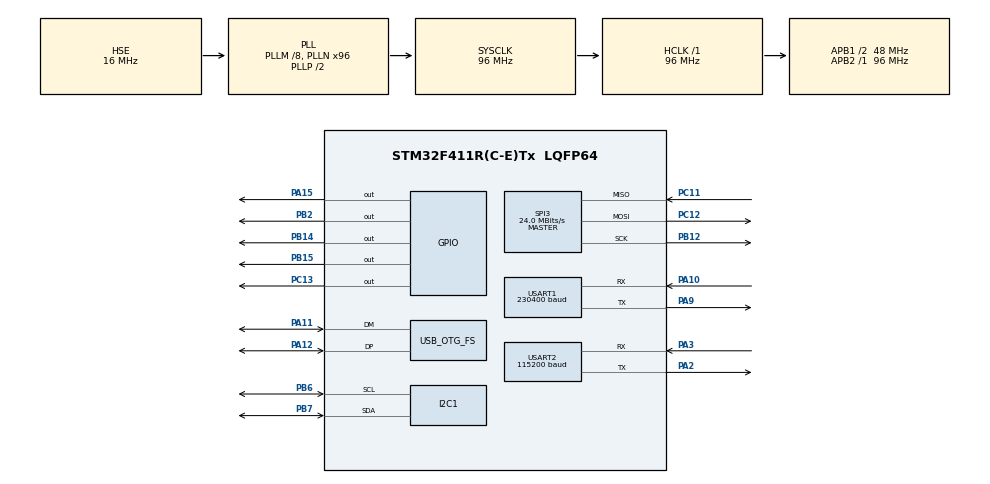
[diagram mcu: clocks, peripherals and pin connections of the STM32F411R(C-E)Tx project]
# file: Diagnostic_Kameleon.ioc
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Dma.Request0=USART2_RX
Dma.USART2_RX.0.Direction=DMA_PERIPH_TO_MEMORY
Dma.USART2_RX.0.FIFOMode=DMA_FIFOMODE_DISABLE
Dma.USART2_RX.0.Instance=DMA1_Stream5
Dma.USART2_RX.0.MemDataAlignment=DMA_MDATAALIGN_BYTE
Dma.USART2_RX.0.MemInc=DMA_MINC_ENABLE
Dma.USART2_RX.0.Mode=DMA_CIRCULAR
Dma.USART2_RX.0.PeriphDataAlignment=DMA_PDATAALIGN_BYTE
Dma.USART2_RX.0.PeriphInc=DMA_PINC_DISABLE
Dma.USART2_RX.0.Priority=DMA_PRIORITY_LOW
Mcu.Family=STM32F4
Mcu.Name=STM32F411R(C-E)Tx
Mcu.Package=LQFP64
NVIC.DMA1_Stream5_IRQn=true\:0\:0\:false\:false\:true
NVIC.OTG_FS_IRQn=true\:0\:0\:false\:false\:true
NVIC.PriorityGroup=NVIC_PRIORITYGROUP_4
NVIC.USART2_IRQn=true\:0\:0\:false\:false\:true
PA10.Mode=Asynchronous
PA10.Signal=USART1_RX
PA11.Mode=Device_Only
PA11.Signal=USB_OTG_FS_DM
PA12.Mode=Device_Only
PA12.Signal=USB_OTG_FS_DP
PA13.Mode=Serial_Wire
PA13.Signal=SYS_JTMS-SWDIO
PA14.Mode=Serial_Wire
PA14.Signal=SYS_JTCK-SWCLK
PA15.Signal=GPIO_Output
PA2.Mode=Asynchronous
PA2.Signal=USART2_TX
PA3.Mode=Asynchronous
PA3.Signal=USART2_RX
PA9.Mode=Asynchronous
PA9.Signal=USART1_TX
PB12.Mode=Full_Duplex_Master
PB12.Signal=SPI3_SCK
PB14.PinState=GPIO_PIN_SET
PB14.Signal=GPIO_Output
PB15.PinState=GPIO_PIN_SET
PB15.Signal=GPIO_Output
PB2.Signal=GPIO_Output
PB6.GPIO_PuPdOD=GPIO_PULLUP
PB6.Mode=I2C
PB6.Signal=I2C1_SCL
PB7.GPIO_PuPdOD=GPIO_PULLUP
PB7.Mode=I2C
PB7.Signal=I2C1_SDA
PC11.Mode=Full_Duplex_Master
PC11.Signal=SPI3_MISO
PC12.Mode=Full_Duplex_Master
PC12.Signal=SPI3_MOSI
PC13-ANTI_TAMP.Signal=GPIO_Output
PH0\ -\ OSC_IN.Mode=HSE-External-Oscillator
PH0\ -\ OSC_IN.Signal=RCC_OSC_IN
PH1\ -\ OSC_OUT.Mode=HSE-External-Oscillator
PH1\ -\ OSC_OUT.Signal=RCC_OSC_OUT
ProjectManager.HeapSize=0x2000
ProjectManager.StackSize=0x2000
ProjectManager.TargetToolchain=Makefile
RCC.48MHZClocksFreq_Value=48000000
RCC.AHBFreq_Value=96000000
RCC.APB1CLKDivider=RCC_HCLK_DIV2
RCC.APB1Freq_Value=48000000
RCC.APB1TimFreq_Value=96000000
RCC.APB2Freq_Value=96000000
RCC.APB2TimFreq_Value=96000000
RCC.CortexFreq_Value=96000000
RCC.HCLKFreq_Value=96000000
RCC.HSE_VALUE=16000000
RCC.HSI_VALUE=16000000
RCC.LSE_VALUE=32768
RCC.PLLM=8
RCC.PLLN=96
RCC.SYSCLKFreq_VALUE=96000000
RCC.SYSCLKSource=RCC_SYSCLKSOURCE_PLLCLK
RCC.VCOOutputFreq_Value=192000000
SPI3.CLKPolarity=SPI_POLARITY_LOW
SPI3.CalculateBaudRate=24.0 MBits/s
SPI3.Direction=SPI_DIRECTION_2LINES
SPI3.Mode=SPI_MODE_MASTER
SPI3.VirtualType=VM_MASTER
USART1.BaudRate=230400
USART1.VirtualMode=VM_ASYNC
USART2.BaudRate=115200
USART2.VirtualMode=VM_ASYNC
USB_DEVICE.CLASS_NAME_FS=CDC
USB_DEVICE.USBD_SELF_POWERED=0
USB_DEVICE.VirtualMode=Cdc
USB_DEVICE.VirtualModeFS=Cdc_FS
USB_OTG_FS.VirtualMode=Device_Only
USB_OTG_FS.vbus_sensing_enable=DISABLE
VP_USB_DEVICE_VS_USB_DEVICE_CDC_FS.Mode=CDC_FS
board=Diagnostic_Kameleon

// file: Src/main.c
/**
  ******************************************************************************
  * File Name          : main.c
  * Description        : Main program body
  ******************************************************************************
  * This notice applies to any and all portions of this file
  * that are not between comment pairs USER CODE BEGIN and
  * USER CODE END. Other portions of this file, whether
  * inserted by the user or by software development tools
  * are owned by their respective copyright owners.
  *
  * Copyright (c) 2017 STMicroelectronics International N.V.
  * All rights reserved.
  *
  * Redistribution and use in source and binary forms, with or without
  * modification, are permitted, provided that the following conditions are met:
  *
  * 1. Redistribution of source code must retain the above copyright notice,
  *    this list of conditions and the following disclaimer.
  * 2. Redistributions in binary form must reproduce the above copyright notice,
  *    this list of conditions and the following disclaimer in the documentation
  *    and/or other materials provided with the distribution.
  * 3. Neither the name of STMicroelectronics nor the names of other
  *    contributors to this software may be used to endorse or promote products
  *    derived from this software without specific written permission.
  * 4. This software, including modifications and/or derivative works of this
  *    software, must execute solely and exclusively on microcontroller or
  *    microprocessor devices manufactured by or for STMicroelectronics.
  * 5. Redistribution and use of this software other than as permitted under
  *    this license is void and will automatically terminate your rights under
  *    this license.
  *
  * THIS SOFTWARE IS PROVIDED BY STMICROELECTRONICS AND CONTRIBUTORS "AS IS"
  * AND ANY EXPRESS, IMPLIED OR STATUTORY WARRANTIES, INCLUDING, BUT NOT
  * LIMITED TO, THE IMPLIED WARRANTIES OF MERCHANTABILITY, FITNESS FOR A
  * PARTICULAR PURPOSE AND NON-INFRINGEMENT OF THIRD PARTY INTELLECTUAL PROPERTY
  * RIGHTS ARE DISCLAIMED TO THE FULLEST EXTENT PERMITTED BY LAW. IN NO EVENT
  * SHALL STMICROELECTRONICS OR CONTRIBUTORS BE LIABLE FOR ANY DIRECT, INDIRECT,
  * INCIDENTAL, SPECIAL, EXEMPLARY, OR CONSEQUENTIAL DAMAGES (INCLUDING, BUT NOT
  * LIMITED TO, PROCUREMENT OF SUBSTITUTE GOODS OR SERVICES; LOSS OF USE, DATA,
  * OR PROFITS; OR BUSINESS INTERRUPTION) HOWEVER CAUSED AND ON ANY THEORY OF
  * LIABILITY, WHETHER IN CONTRACT, STRICT LIABILITY, OR TORT (INCLUDING
  * NEGLIGENCE OR OTHERWISE) ARISING IN ANY WAY OUT OF THE USE OF THIS SOFTWARE,
  * EVEN IF ADVISED OF THE POSSIBILITY OF SUCH DAMAGE.
  *
  ******************************************************************************
  */
#include "main.h"
#include "stm32f4xx_hal.h"
#include "usb_device.h"

/* USER CODE BEGIN Includes */
#include "usbd_cdc_if.h"
#include "is25lq040b.h"
#include "mpu6050.h"
#include "vcp.h"
#include "uart.h"
#include "esp8266_12e.h"
#include "diagnostic.h"

/* USER CODE END Includes */

I2C_HandleTypeDef hi2c1;
SPI_HandleTypeDef hspi3;
UART_HandleTypeDef huart1;
UART_HandleTypeDef huart2;
DMA_HandleTypeDef hdma_usart2_rx;

/* USER CODE BEGIN PV */
/* Private variables ---------------------------------------------------------*/

unsigned int gTestFunc;

/* USER CODE END PV */

void SystemClock_Config(void);
static void MX_GPIO_Init(void);
static void MX_DMA_Init(void);
static void MX_SPI3_Init(void);
static void MX_USART1_UART_Init(void);
static void MX_USART2_UART_Init(void);
static void MX_I2C1_Init(void);

/* USER CODE BEGIN PFP */
/* Private function prototypes -----------------------------------------------*/

/* USER CODE END PFP */

/* USER CODE BEGIN 0 */

void HAL_SYSTICK_Callback()
{
    static unsigned int n = 0;

    if( (n++%1000) == 0 )
    {
        HAL_GPIO_TogglePin(GPIOB, GPIO_PIN_2);
    }

}

/* USER CODE END 0 */

int main(void)
{

  /* MCU Configuration----------------------------------------------------------*/

  /* Reset of all peripherals, Initializes the Flash interface and the Systick. */
  HAL_Init();

  /* Configure the system clock */
  SystemClock_Config();

  /* USER CODE BEGIN SysInit */
   HAL_Delay(1000);
  /* USER CODE END SysInit */

  /* Initialize all configured peripherals */
  MX_GPIO_Init();
  MX_DMA_Init();
  MX_USB_DEVICE_Init();
  MX_SPI3_Init();
  MX_USART1_UART_Init();
  MX_USART2_UART_Init();
  MX_I2C1_Init();

  /* USER CODE BEGIN 2 */
  VcpDebugInit(&huart1);
  Is25Lq_Init(&hspi3);
  Mpu6050_Init(&hi2c1);
  UartDebugInit(&huart1);
  Esp8266Init(&huart2, &hdma_usart2_rx);

//  Mpu6050_Test();
//  Esp8266_Test();

  while(VcpIsCharReceived() == 0)
  {
       VcpPrintf("Press any key to continue \r\n");
       HAL_Delay(1000);
  }

  Diagnostic();

  /* USER CODE END 2 */

  /* Infinite loop */
  while (1)
  {

  }

}

/** System Clock Configuration
*/
void SystemClock_Config(void)
{

  RCC_OscInitTypeDef RCC_OscInitStruct;
  RCC_ClkInitTypeDef RCC_ClkInitStruct;

    /**Configure the main internal regulator output voltage
    */
  __HAL_RCC_PWR_CLK_ENABLE();

  __HAL_PWR_VOLTAGESCALING_CONFIG(PWR_REGULATOR_VOLTAGE_SCALE1);

    /**Initializes the CPU, AHB and APB busses clocks
    */
  RCC_OscInitStruct.OscillatorType = RCC_OSCILLATORTYPE_HSE;
  RCC_OscInitStruct.HSEState = RCC_HSE_ON;
  RCC_OscInitStruct.PLL.PLLState = RCC_PLL_ON;
  RCC_OscInitStruct.PLL.PLLSource = RCC_PLLSOURCE_HSE;
  RCC_OscInitStruct.PLL.PLLM = 8;
  RCC_OscInitStruct.PLL.PLLN = 96;
  RCC_OscInitStruct.PLL.PLLP = RCC_PLLP_DIV2;
  RCC_OscInitStruct.PLL.PLLQ = 4;
  if (HAL_RCC_OscConfig(&RCC_OscInitStruct) != HAL_OK)
  {
    _Error_Handler(__FILE__, __LINE__);
  }

    /**Initializes the CPU, AHB and APB busses clocks
    */
  RCC_ClkInitStruct.ClockType = RCC_CLOCKTYPE_HCLK|RCC_CLOCKTYPE_SYSCLK
                              |RCC_CLOCKTYPE_PCLK1|RCC_CLOCKTYPE_PCLK2;
  RCC_ClkInitStruct.SYSCLKSource = RCC_SYSCLKSOURCE_PLLCLK;
  RCC_ClkInitStruct.AHBCLKDivider = RCC_SYSCLK_DIV1;
  RCC_ClkInitStruct.APB1CLKDivider = RCC_HCLK_DIV2;
  RCC_ClkInitStruct.APB2CLKDivider = RCC_HCLK_DIV1;

  if (HAL_RCC_ClockConfig(&RCC_ClkInitStruct, FLASH_LATENCY_3) != HAL_OK)
  {
    _Error_Handler(__FILE__, __LINE__);
  }

    /**Configure the Systick interrupt time
    */
  HAL_SYSTICK_Config(HAL_RCC_GetHCLKFreq()/1000);

    /**Configure the Systick
    */
  HAL_SYSTICK_CLKSourceConfig(SYSTICK_CLKSOURCE_HCLK);

  /* SysTick_IRQn interrupt configuration */
  HAL_NVIC_SetPriority(SysTick_IRQn, 0, 0);
}

/* I2C1 init function */
static void MX_I2C1_Init(void)
{

  hi2c1.Instance = I2C1;
  hi2c1.Init.ClockSpeed = 100000;
  hi2c1.Init.DutyCycle = I2C_DUTYCYCLE_2;
  hi2c1.Init.OwnAddress1 = 0;
  hi2c1.Init.AddressingMode = I2C_ADDRESSINGMODE_7BIT;
  hi2c1.Init.DualAddressMode = I2C_DUALADDRESS_DISABLE;
  hi2c1.Init.OwnAddress2 = 0;
  hi2c1.Init.GeneralCallMode = I2C_GENERALCALL_DISABLE;
  hi2c1.Init.NoStretchMode = I2C_NOSTRETCH_DISABLE;
  if (HAL_I2C_Init(&hi2c1) != HAL_OK)
  {
    _Error_Handler(__FILE__, __LINE__);
  }

}

/* SPI3 init function */
static void MX_SPI3_Init(void)
{

  hspi3.Instance = SPI3;
  hspi3.Init.Mode = SPI_MODE_MASTER;
  hspi3.Init.Direction = SPI_DIRECTION_2LINES;
  hspi3.Init.DataSize = SPI_DATASIZE_8BIT;
  hspi3.Init.CLKPolarity = SPI_POLARITY_LOW;
  hspi3.Init.CLKPhase = SPI_PHASE_1EDGE;
  hspi3.Init.NSS = SPI_NSS_SOFT;
  hspi3.Init.BaudRatePrescaler = SPI_BAUDRATEPRESCALER_2;
  hspi3.Init.FirstBit = SPI_FIRSTBIT_MSB;
  hspi3.Init.TIMode = SPI_TIMODE_DISABLE;
  hspi3.Init.CRCCalculation = SPI_CRCCALCULATION_DISABLE;
  hspi3.Init.CRCPolynomial = 10;
  if (HAL_SPI_Init(&hspi3) != HAL_OK)
  {
    _Error_Handler(__FILE__, __LINE__);
  }

}

/* USART1 init function */
static void MX_USART1_UART_Init(void)
{

  huart1.Instance = USART1;
  huart1.Init.BaudRate = 230400;
  huart1.Init.WordLength = UART_WORDLENGTH_8B;
  huart1.Init.StopBits = UART_STOPBITS_1;
  huart1.Init.Parity = UART_PARITY_NONE;
  huart1.Init.Mode = UART_MODE_TX_RX;
  huart1.Init.HwFlowCtl = UART_HWCONTROL_NONE;
  huart1.Init.OverSampling = UART_OVERSAMPLING_16;
  if (HAL_UART_Init(&huart1) != HAL_OK)
  {
    _Error_Handler(__FILE__, __LINE__);
  }

}

/* USART2 init function */
static void MX_USART2_UART_Init(void)
{

  huart2.Instance = USART2;
  huart2.Init.BaudRate = 115200;
  huart2.Init.WordLength = UART_WORDLENGTH_8B;
  huart2.Init.StopBits = UART_STOPBITS_1;
  huart2.Init.Parity = UART_PARITY_NONE;
  huart2.Init.Mode = UART_MODE_TX_RX;
  huart2.Init.HwFlowCtl = UART_HWCONTROL_NONE;
  huart2.Init.OverSampling = UART_OVERSAMPLING_16;
  if (HAL_UART_Init(&huart2) != HAL_OK)
  {
    _Error_Handler(__FILE__, __LINE__);
  }

}

static void MX_DMA_Init(void)
{
  /* DMA controller clock enable */
  __HAL_RCC_DMA1_CLK_ENABLE();

  /* DMA interrupt init */
  /* DMA1_Stream5_IRQn interrupt configuration */
  HAL_NVIC_SetPriority(DMA1_Stream5_IRQn, 0, 0);
  HAL_NVIC_EnableIRQ(DMA1_Stream5_IRQn);

}

/** Configure pins as
        * Analog
        * Input
        * Output
        * EVENT_OUT
        * EXTI
*/
static void MX_GPIO_Init(void)
{

  GPIO_InitTypeDef GPIO_InitStruct;

  /* GPIO Ports Clock Enable */
  __HAL_RCC_GPIOC_CLK_ENABLE();
  __HAL_RCC_GPIOH_CLK_ENABLE();
  __HAL_RCC_GPIOA_CLK_ENABLE();
  __HAL_RCC_GPIOB_CLK_ENABLE();

  /*Configure GPIO pin Output Level */
  HAL_GPIO_WritePin(GPIOC, GPIO_PIN_13, GPIO_PIN_RESET);

  /*Configure GPIO pin Output Level */
  HAL_GPIO_WritePin(GPIOB, GPIO_PIN_2, GPIO_PIN_RESET);

  /*Configure GPIO pin Output Level */
  HAL_GPIO_WritePin(GPIOB, GPIO_PIN_14|GPIO_PIN_15, GPIO_PIN_SET);

  /*Configure GPIO pin Output Level */
  HAL_GPIO_WritePin(GPIOA, GPIO_PIN_15, GPIO_PIN_RESET);

  /*Configure GPIO pin : PC13 */
  GPIO_InitStruct.Pin = GPIO_PIN_13;
  GPIO_InitStruct.Mode = GPIO_MODE_OUTPUT_PP;
  GPIO_InitStruct.Pull = GPIO_NOPULL;
  GPIO_InitStruct.Speed = GPIO_SPEED_FREQ_LOW;
  HAL_GPIO_Init(GPIOC, &GPIO_InitStruct);

  /*Configure GPIO pins : PB2 PB14 PB15 */
  GPIO_InitStruct.Pin = GPIO_PIN_2|GPIO_PIN_14|GPIO_PIN_15;
  GPIO_InitStruct.Mode = GPIO_MODE_OUTPUT_PP;
  GPIO_InitStruct.Pull = GPIO_NOPULL;
  GPIO_InitStruct.Speed = GPIO_SPEED_FREQ_LOW;
  HAL_GPIO_Init(GPIOB, &GPIO_InitStruct);

  /*Configure GPIO pin : PA15 */
  GPIO_InitStruct.Pin = GPIO_PIN_15;
  GPIO_InitStruct.Mode = GPIO_MODE_OUTPUT_PP;
  GPIO_InitStruct.Pull = GPIO_NOPULL;
  GPIO_InitStruct.Speed = GPIO_SPEED_FREQ_LOW;
  HAL_GPIO_Init(GPIOA, &GPIO_InitStruct);

}

void _Error_Handler(char * file, int line)
{
  while(1)
  {
  }
}

/************************ (C) COPYRIGHT STMicroelectronics *****END OF FILE****/
